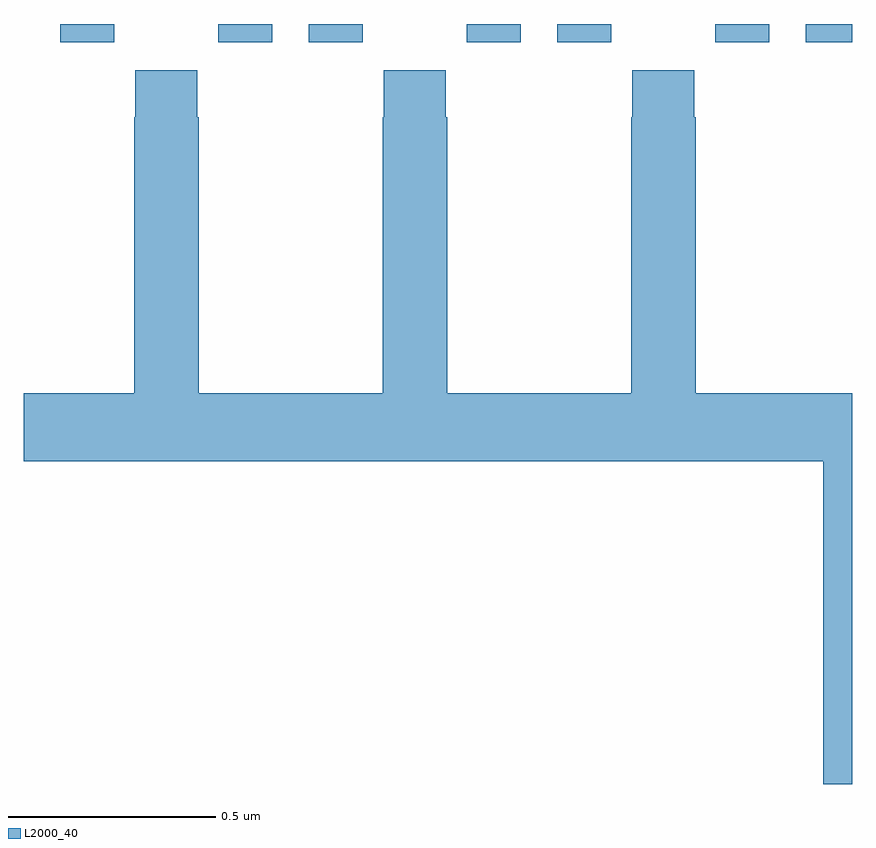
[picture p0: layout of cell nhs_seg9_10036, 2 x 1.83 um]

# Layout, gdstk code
import gdstk
lib = gdstk.Library(unit=1e-6, precision=1e-09)
def R(c, l, rs):  # rectangles x0, y0, x1, y1
    for r in rs: c.add(gdstk.rectangle(r[:2], r[2:], *l))
def P(c, l, *ps):  # polygons
    for p in ps: c.add(gdstk.Polygon(p, *l))
L2000_40 = (2000, 40)

nhs_seg9_10036 = lib.new_cell('nhs_seg9_10036')
R(nhs_seg9_10036, L2000_40, [(238.088,1173.456,238.218,1173.5), (238.47,1173.456,238.6,1173.5), (238.688,1173.456,238.818,1173.5), (239.07,1173.456,239.2,1173.5), (239.288,1173.456,239.418,1173.5), (239.67,1173.456,239.8,1173.5), (239.888,1173.456,240,1173.5)])
P(nhs_seg9_10036, L2000_40, [(240,1172.608),(239.622,1172.608),(239.622,1173.275),(239.619,1173.275),(239.619,1173.388),(239.469,1173.388),(239.469,1173.275),(239.467,1173.275),(239.467,1172.608),(239.022,1172.608),(239.022,1173.275),(239.019,1173.275),(239.019,1173.388),(238.869,1173.388),(238.869,1173.275),(238.867,1173.275),(238.867,1172.608),(238.422,1172.608),(238.422,1173.275),(238.419,1173.275),(238.419,1173.388),(238.269,1173.388),(238.269,1173.275),(238.267,1173.275),(238.267,1172.608),(238,1172.608),(238,1172.444),(239.93,1172.444),(239.93,1171.665),(240,1171.665)])

lib.write_gds('nhs_seg9_10036.gds')
